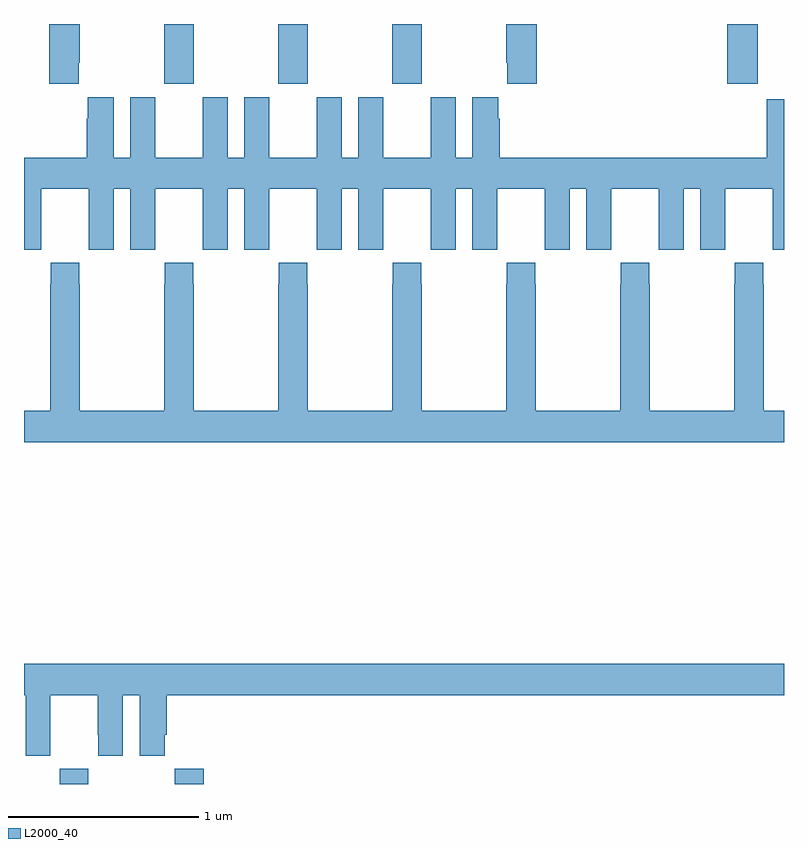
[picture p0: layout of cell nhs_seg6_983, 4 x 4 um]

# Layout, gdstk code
import gdstk
lib = gdstk.Library(unit=1e-6, precision=1e-09)
def R(c, l, rs):  # rectangles x0, y0, x1, y1
    for r in rs: c.add(gdstk.rectangle(r[:2], r[2:], *l))
def A(c, l, x, y, w, h, nx, ny, dx, dy):  # array of equal rectangles
    R(c, l, [(x+i*dx, y+j*dy, x+i*dx+w, y+j*dy+h) for i in range(nx) for j in range(ny)])
def P(c, l, *ps):  # polygons
    for p in ps: c.add(gdstk.Polygon(p, *l))
L2000_40 = (2000, 40)

nhs_seg6_983 = lib.new_cell('nhs_seg6_983')
A(nhs_seg6_983, L2000_40, 171.739, 985.185, 0.155, 0.315, 3, 1, 0.6, 0)
R(nhs_seg6_983, L2000_40, [(171.189,981.5,171.339,981.58), (171.793,981.5,171.947,981.58), (174.701,985.185,174.861,985.5)])
P(nhs_seg6_983, L2000_40, [(171.289,985.297),(171.294,985.297),(171.294,985.5),(171.134,985.5),(171.134,985.185),(171.289,985.185)],
  [(173.699,985.5),(173.539,985.5),(173.539,985.297),(173.543,985.297),(173.543,985.185),(173.699,985.185)],
  [(173.504,985.001),(173.497,985.001),(173.497,985.114),(173.36,985.114),(173.36,984.796),(173.272,984.796),(173.272,985.114),(173.141,985.114),(173.141,984.796),(172.891,984.796),(172.891,985.114),(172.76,985.114),(172.76,984.796),(172.672,984.796),(172.672,985.114),(172.541,985.114),(172.541,984.796),(172.291,984.796),(172.291,985.114),(172.16,985.114),(172.16,984.796),(172.072,984.796),(172.072,985.114),(171.941,985.114),(171.941,984.796),(171.691,984.796),(171.691,985.114),(171.56,985.114),(171.56,984.796),(171.472,984.796),(171.472,985.114),(171.335,985.114),(171.335,985.001),(171.329,985.001),(171.329,984.796),(171,984.796),(171,984.312),(171.09,984.312),(171.09,984.424),(171.091,984.424),(171.091,984.632),(171.341,984.632),(171.341,984.424),(171.342,984.424),(171.342,984.312),(171.472,984.312),(171.472,984.632),(171.56,984.632),(171.56,984.312),(171.69,984.312),(171.69,984.424),(171.691,984.424),(171.691,984.632),(171.941,984.632),(171.941,984.424),(171.942,984.424),(171.942,984.312),(172.072,984.312),(172.072,984.632),(172.16,984.632),(172.16,984.312),(172.29,984.312),(172.29,984.424),(172.291,984.424),(172.291,984.632),(172.541,984.632),(172.541,984.424),(172.542,984.424),(172.542,984.312),(172.672,984.312),(172.672,984.632),(172.76,984.632),(172.76,984.312),(172.89,984.312),(172.89,984.424),(172.891,984.424),(172.891,984.632),(173.141,984.632),(173.141,984.424),(173.142,984.424),(173.142,984.312),(173.272,984.312),(173.272,984.632),(173.36,984.632),(173.36,984.312),(173.49,984.312),(173.49,984.424),(173.491,984.424),(173.491,984.632),(173.741,984.632),(173.741,984.424),(173.742,984.424),(173.742,984.312),(173.872,984.312),(173.872,984.632),(173.96,984.632),(173.96,984.312),(174.09,984.312),(174.09,984.424),(174.091,984.424),(174.091,984.632),(174.341,984.632),(174.341,984.424),(174.342,984.424),(174.342,984.312),(174.472,984.312),(174.472,984.632),(174.56,984.632),(174.56,984.312),(174.69,984.312),(174.69,984.424),(174.691,984.424),(174.691,984.632),(174.941,984.632),(174.941,984.424),(174.942,984.424),(174.942,984.312),(175,984.312),(175,985.105),(174.908,985.105),(174.908,984.796),(173.504,984.796)],
  [(175,983.464),(174.894,983.464),(174.894,984.131),(174.891,984.131),(174.891,984.244),(174.741,984.244),(174.741,984.131),(174.739,984.131),(174.739,983.464),(174.294,983.464),(174.294,984.131),(174.291,984.131),(174.291,984.244),(174.141,984.244),(174.141,984.131),(174.139,984.131),(174.139,983.464),(173.694,983.464),(173.694,984.131),(173.691,984.131),(173.691,984.244),(173.541,984.244),(173.541,984.131),(173.539,984.131),(173.539,983.464),(173.094,983.464),(173.094,984.131),(173.091,984.131),(173.091,984.244),(172.941,984.244),(172.941,984.131),(172.939,984.131),(172.939,983.464),(172.494,983.464),(172.494,984.131),(172.491,984.131),(172.491,984.244),(172.341,984.244),(172.341,984.131),(172.339,984.131),(172.339,983.464),(171.894,983.464),(171.894,984.131),(171.891,984.131),(171.891,984.244),(171.741,984.244),(171.741,984.131),(171.739,984.131),(171.739,983.464),(171.294,983.464),(171.294,984.131),(171.291,984.131),(171.291,984.244),(171.141,984.244),(171.141,984.131),(171.139,984.131),(171.139,983.464),(171,983.464),(171,983.3),(175,983.3)],
  [(171.138,981.76),(171.139,981.76),(171.139,981.968),(171.389,981.968),(171.389,981.76),(171.39,981.76),(171.39,981.648),(171.52,981.648),(171.52,981.968),(171.608,981.968),(171.608,981.648),(171.742,981.648),(171.742,981.76),(171.752,981.76),(171.752,981.968),(175,981.968),(175,982.132),(171,982.132),(171,981.968),(171.008,981.968),(171.008,981.648),(171.138,981.648)])

lib.write_gds('nhs_seg6_983.gds')
